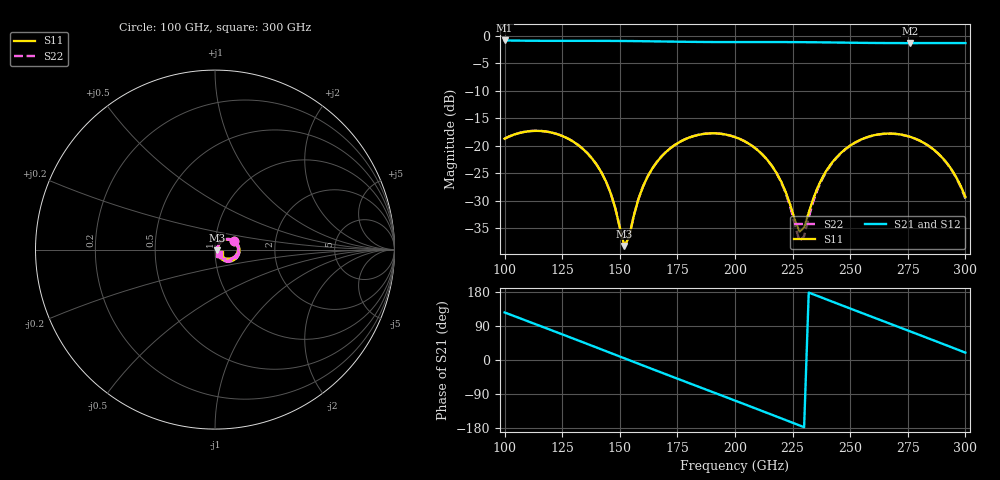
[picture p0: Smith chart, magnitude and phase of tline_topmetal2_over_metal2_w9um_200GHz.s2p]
#  GHZ S DB R 50
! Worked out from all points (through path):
!   101 points, 100 GHz to 300 GHz, reference 50 ohm
!   highest |S21| = -0.83 dB at 100 GHz (marker M1); lowest = -1.3 dB at 276 GHz (marker M2)
!   group delay of S21, straight-line fit = 6.48 ps
!   lowest |S11| = -38.3 dB at 152 GHz (marker M3), VSWR 1.02, Z = 51.2 - j0.29 ohm
!   |S11| at or under -10 dB: start of sweep to end of sweep
!   |S22| runs from -38.3 to -17.3 dB; largest |S21 - S12| = 1e-13
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100  -18.73 24.9  -0.83 125.5  -0.83 125.5  -18.72 24.4
116  -17.33 -8.2  -0.90 88.6  -0.90 88.6  -17.32 -8.8
134  -20.59 -44.5  -0.90 46.8  -0.90 46.8  -20.58 -45.3
144  -26.52 -59.2  -0.91 23.3  -0.91 23.3  -26.51 -60.2
152  -38.26 -13.4  -0.93 4.5  -0.93 4.5  -38.30 -14.5
160  -27.50 54.3  -0.97 -14.3  -0.97 -14.3  -27.49 53.3
168  -22.01 44.6  -1.01 -33.0  -1.01 -33.0  -22.00 43.5
184  -18.04 13.6  -1.10 -70.1  -1.10 -70.1  -18.02 12.2
200  -18.43 -18.8  -1.13 -107.1  -1.13 -107.1  -18.42 -20.7
210  -20.87 -37.6  -1.12 -130.4  -1.12 -130.4  -20.86 -40.3
218  -24.95 -48.7  -1.12 -149.1  -1.12 -149.1  -25.00 -52.7
222  -28.43 -48.7  -1.13 -158.5  -1.13 -158.5  -28.61 -54.4
228  -35.66 -7.0  -1.14 -172.6  -1.14 -172.6  -37.41 -12.1
230  -34.88 24.1  -1.15 -177.3  -1.15 -177.3  -36.46 26.8
234  -29.61 50.2  -1.16 173.3  -1.16 173.3  -30.09 53.8
240  -24.33 51.0  -1.19 159.2  -1.19 159.2  -24.49 52.6
248  -20.58 39.3  -1.23 140.5  -1.23 140.5  -20.64 39.7
258  -18.35 20.5  -1.28 117.3  -1.28 117.3  -18.38 20.2
268  -17.79 0.7  -1.31 94.1  -1.31 94.1  -17.81 -0.1
276  -18.38 -15.0  -1.31 75.6  -1.31 75.6  -18.39 -16.2
290  -22.19 -39.6  -1.30 42.9  -1.30 42.9  -22.22 -41.9
300  -29.35 -41.6  -1.31 19.4  -1.31 19.4  -29.62 -46.2
